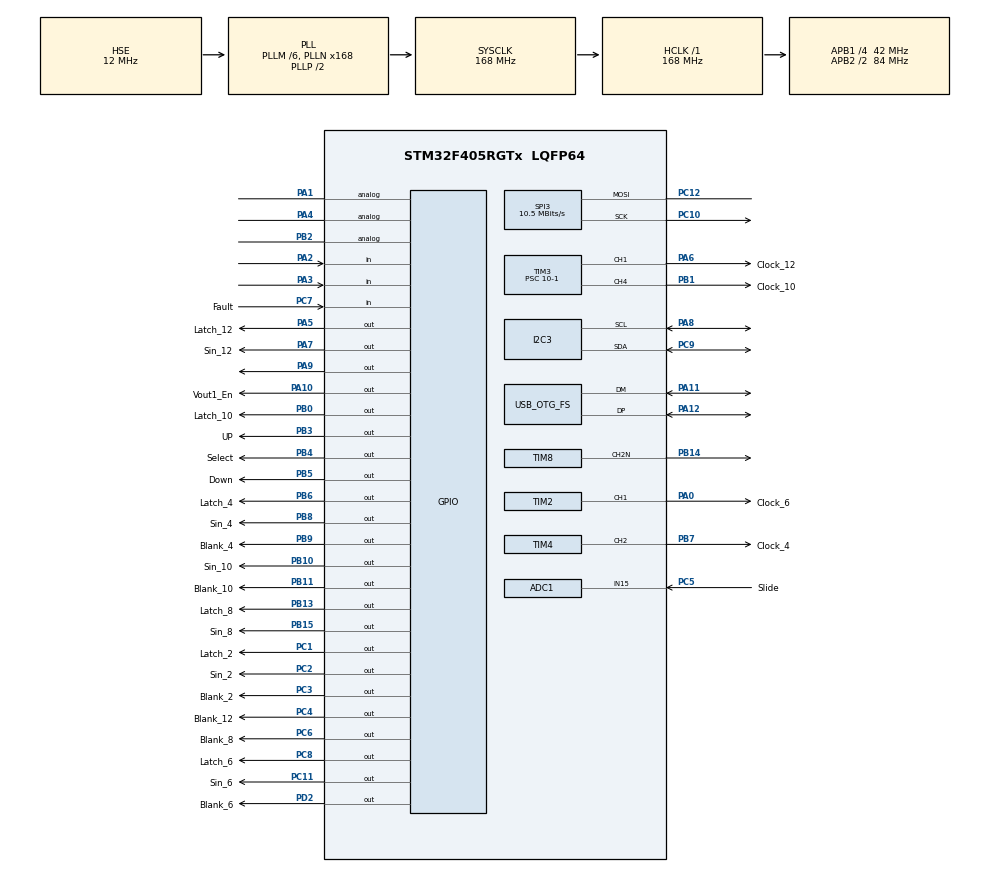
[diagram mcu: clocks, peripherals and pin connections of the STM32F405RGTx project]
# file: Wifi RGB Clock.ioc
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Dma.SPI3_TX.0.FIFOMode=DMA_FIFOMODE_DISABLE
Dma.SPI3_TX.0.Priority=DMA_PRIORITY_MEDIUM
VP_TIM5_VS_ClockSourceINT.Mode=Internal
PH0-OSC_IN.Signal=RCC_OSC_IN
VP_SYS_VS_tim6.Mode=TIM6
SPI3.Direction=SPI_DIRECTION_1LINE
SPI3.VirtualType=VM_MASTER
NVIC.TIM6_DAC_IRQn=true\:0\:0\:false\:false\:true\:false\:false\:true
PC12.Signal=SPI3_MOSI
PC6.GPIO_Label=Blank_8
VP_RTC_VS_RTC_Activate.Mode=RTC_Enabled
PB6.GPIO_Label=Latch_4
PA6.GPIO_Label=Clock_12
PB13.Signal=GPIO_Output
TIM3.Channel-PWM\ Generation4\ CH4=TIM_CHANNEL_4
RCC.SYSCLKSource=RCC_SYSCLKSOURCE_PLLCLK
VP_TIM1_VS_no_output1.Mode=PWM Generation1 No Output
VP_TIM2_VS_ClockSourceITR.Mode=TriggerSource_ITR0
TIM8.OCNPolarity_2=TIM_OCNPOLARITY_HIGH
NVIC.TIM5_IRQn=true\:5\:0\:false\:false\:true\:true\:true\:true
RCC.APB2TimFreq_Value=168000000
PB6.Signal=GPIO_Output
PC7.Signal=GPIO_Input
PC3.Signal=GPIO_Output
Dma.SPI3_TX.0.Direction=DMA_MEMORY_TO_PERIPH
VP_TIM4_VS_ControllerModeTrigger.Mode=Trigger Mode
PB2.Signal=GPIO_Analog
PC1.GPIO_PuPd=GPIO_PULLDOWN
SH.ADCx_IN15.0=ADC1_IN15,IN15
TIM8.OCMode_PWM-PWM\ Generation2\ CH2N=TIM_OCMODE_PWM1
PC4.GPIO_Label=Blank_12
PB14.Mode=PWM Generation2 CH2N
PA5.GPIO_PuPd=GPIO_PULLDOWN
PB1.GPIO_Label=Clock_10
NVIC.TIM2_IRQn=true\:5\:0\:false\:false\:true\:true\:true\:true
PC9.Mode=I2C
PC11.GPIO_Speed=GPIO_SPEED_FREQ_HIGH
SH.S_TIM4_CH2.0=TIM4_CH2,PWM Generation2 CH2
PA8.Signal=I2C3_SCL
TIM4.Period=84-1
VP_TIM1_VS_ClockSourceINT.Mode=Internal
ADC1.SamplingTime-0\#ChannelRegularConversion=ADC_SAMPLETIME_3CYCLES
Mcu.Package=LQFP64
PB9.Signal=GPIO_Output
TIM2.Prescaler=10-1
PB1.Signal=S_TIM3_CH4
NVIC.TimeBase=TIM6_DAC_IRQn
SPI3.Mode=SPI_MODE_MASTER
NVIC.TimeBaseIP=TIM6
PA10.Signal=GPIO_Output
PB9.GPIO_PuPd=GPIO_PULLUP
PC6.GPIO_PuPd=GPIO_PULLUP
RCC.APB2CLKDivider=RCC_HCLK_DIV2
RCC.APB1TimFreq_Value=84000000
TIM1.Period=168-1
TIM4.OC2Preload_PWM=DISABLE
TIM4.Pulse-PWM\ Generation2\ CH2=70
TIM1.OCPolarity_1=TIM_OCPOLARITY_LOW
FREERTOS.Tasks01=RGB,26,128,StartRGB,Default,NULL,Dynamic,NULL,NULL;LatchTime,40,128,StartLatchTime,Default,NULL,Dynamic,NULL,NULL;UpdateTimeCallB,32,128,StartUpdateTimeCB,Default,NULL,Dynamic,NULL,NULL;UpdateTime,48,128,StartUpdateTime,Default,NULL,Dynamic,NULL,NULL;CurrentTime,24,128,StartCurrentTime,Default,NULL,Dynamic,NULL,NULL
ADC1.Rank-0\#ChannelRegularConversion=1
PC4.PinState=GPIO_PIN_SET
PD2.GPIO_PuPd=GPIO_PULLUP
VP_TIM3_VS_ControllerModeTrigger.Mode=Trigger Mode
PB6.GPIO_PuPd=GPIO_PULLDOWN
FREERTOS.configCHECK_FOR_STACK_OVERFLOW=1
PC6.Signal=GPIO_Output
PC2.Signal=GPIO_Output
PB11.GPIO_Label=Blank_10
VP_TIM8_VS_ClockSourceITR.Mode=TriggerSource_ITR0
RCC.APB1CLKDivider=RCC_HCLK_DIV4
TIM2.OCPolarity_1=TIM_OCPOLARITY_HIGH
PC14-OSC32_IN.Signal=RCC_OSC32_IN
PA0-WKUP.GPIO_Label=Clock_6
PA0-WKUP.Signal=S_TIM2_CH1_ETR
PB8.GPIO_Label=Sin_4
TIM3.Pulse-PWM\ Generation1\ CH1=70
PA9.Signal=GPIO_Output
VP_TIM8_VS_ClockSourceINT.Mode=Internal
Dma.SPI3_TX.0.PeriphInc=DMA_PINC_DISABLE
PB10.Signal=GPIO_Output
PC6.PinState=GPIO_PIN_SET
PB14.Signal=TIM8_CH2N
PA5.Signal=GPIO_Output
PC12.Mode=Simplex_Bidirectional_Master
VP_TIM5_VS_no_output1.Mode=PWM Generation1 No Output
PA7.GPIO_Speed=GPIO_SPEED_FREQ_HIGH
NVIC.TIM3_IRQn=true\:5\:0\:false\:false\:true\:true\:true\:true
PB13.GPIO_PuPd=GPIO_PULLDOWN
TIM1.TIM_MasterOutputTrigger=TIM_TRGO_OC1REF
PB4.GPIO_Label=Select
PB15.GPIO_Label=Sin_8
VP_TIM4_VS_ClockSourceITR.Mode=TriggerSource_ITR0
TIM3.OC4Preload_PWM=DISABLE
RCC.RCC_RTC_Clock_SourceVirtual=RCC_RTCCLKSOURCE_LSE
TIM5.Channel-PWM\ Generation1\ No\ Output=TIM_CHANNEL_1
Dma.SPI3_TX.0.Instance=DMA1_Stream5
TIM2.Period=84-1
PA13.Mode=Serial_Wire
NVIC.TIM1_CC_IRQn=true\:5\:0\:false\:false\:true\:true\:true\:true
TIM8.Period=84-1
PC7.GPIO_Label=Fault
PC8.GPIO_PuPd=GPIO_PULLDOWN
PA4.Signal=GPIO_Analog
PB5.Signal=GPIO_Output
ADC1.master=1
PA5.GPIO_Label=Latch_12
Dma.SPI3_TX.0.Mode=DMA_NORMAL
PB9.PinState=GPIO_PIN_SET
PA11.Signal=USB_OTG_FS_DM
SH.S_TIM2_CH1_ETR.0=TIM2_CH1,PWM Generation1 CH1
ProjectManager.HeapSize=0x1000
VP_TIM4_VS_ClockSourceINT.Mode=Internal
NVIC.PriorityGroup=NVIC_PRIORITYGROUP_4
TIM2.TIM_MasterSlaveMode=TIM_MASTERSLAVEMODE_DISABLE
PC3.GPIO_Label=Blank_2
PA8.Mode=I2C
PD2.Signal=GPIO_Output
PB0.Signal=GPIO_Output
PC1.Signal=GPIO_Output
PD2.GPIO_Label=Blank_6
Mcu.Family=STM32F4
Dma.SPI3_TX.0.MemInc=DMA_MINC_ENABLE
VP_TIM2_VS_OPM.Mode=OPM_bit
VP_TIM1_VS_OPM.Mode=OPM_bit
RCC.CortexFreq_Value=168000000
TIM2.OCFastMode_PWM-PWM\ Generation1\ CH1=TIM_OCFAST_DISABLE
PB10.GPIO_Speed=GPIO_SPEED_FREQ_HIGH
TIM1.RepetitionCounter=17-1
VP_TIM3_VS_OPM.Mode=OPM_bit
VP_TIM4_VS_OPM.Mode=OPM_bit
PC10.Signal=SPI3_SCK
PA11.Mode=Device_Only
VP_TIM8_VS_ControllerModeTrigger.Mode=Trigger Mode
PB0.GPIO_Label=Latch_10
VP_TIM8_VS_OPM.Mode=OPM_bit
PC2.GPIO_Speed=GPIO_SPEED_FREQ_HIGH
Dma.SPI3_TX.0.PeriphDataAlignment=DMA_PDATAALIGN_BYTE
PB11.GPIO_PuPd=GPIO_PULLUP
PB13.GPIO_Label=Latch_8
PB11.Signal=GPIO_Output
PB15.Signal=GPIO_Output
ProjectManager.StackSize=0x1000
PC3.PinState=GPIO_PIN_SET
TIM5.OCPolarity_1=TIM_OCPOLARITY_HIGH
VP_FREERTOS_VS_CMSIS_V2.Mode=CMSIS_V2
PA12.Signal=USB_OTG_FS_DP
TIM1.Prescaler=15-1
RCC.RCC_RTC_Clock_Source=RCC_RTCCLKSOURCE_LSE
TIM8.OCFastMode_PWM-PWM\ Generation2\ CH2N=TIM_OCFAST_DISABLE
RCC.HCLKFreq_Value=168000000
TIM3.Period=84-1
TIM3.OC1Preload_PWM=DISABLE
RCC.AHBFreq_Value=168000000
PH0-OSC_IN.Mode=HSE-External-Oscillator
TIM3.Channel-PWM\ Generation1\ CH1=TIM_CHANNEL_1
ADC1.Channel-0\#ChannelRegularConversion=ADC_CHANNEL_15
RCC.HSE_VALUE=12000000
PC14-OSC32_IN.Mode=LSE-External-Oscillator
PA14.Mode=Serial_Wire
TIM3.Prescaler=10-1
PC11.GPIO_Label=Sin_6
PA10.GPIO_Label=Vout1_En
TIM8.Pulse-PWM\ Generation2\ CH2N=70
PB7.Signal=S_TIM4_CH2
TIM2.Channel-PWM\ Generation1\ CH1=TIM_CHANNEL_1
SH.S_TIM3_CH1.0=TIM3_CH1,PWM Generation1 CH1
TIM4.OCFastMode_PWM-PWM\ Generation2\ CH2=TIM_OCFAST_DISABLE
VP_TIM3_VS_ClockSourceITR.Mode=TriggerSource_ITR0
TIM8.OC2Preload_PWM=DISABLE
TIM3.OCPolarity_4=TIM_OCPOLARITY_HIGH
Dma.SPI3_TX.0.MemDataAlignment=DMA_MDATAALIGN_BYTE
TIM3.OCPolarity_1=TIM_OCPOLARITY_HIGH
PH1-OSC_OUT.Mode=HSE-External-Oscillator
PB7.GPIO_Label=Clock_4
PA6.Signal=S_TIM3_CH1
TIM8.Channel-PWM\ Generation2\ CH2N=TIM_CHANNEL_2
USB_OTG_FS.VirtualMode=Device_Only
PB11.PinState=GPIO_PIN_SET
TIM8.Prescaler=20-1
PB5.GPIO_Label=Down
PC5.Signal=ADCx_IN15
Dma.Request0=SPI3_TX
PC2.GPIO_Label=Sin_2
VP_TIM3_VS_ClockSourceINT.Mode=Internal
TIM2.OC1Preload_PWM=DISABLE
PB4.Signal=GPIO_Output
PA3.Signal=GPIO_Input
PB3.GPIO_Label=UP
PC15-OSC32_OUT.Mode=LSE-External-Oscillator
PB9.GPIO_Label=Blank_4
PC4.GPIO_PuPd=GPIO_PULLUP
TIM3.OCMode_PWM-PWM\ Generation4\ CH4=TIM_OCMODE_PWM1
TIM2.OCMode_PWM-PWM\ Generation1\ CH1=TIM_OCMODE_PWM1
PC11.Signal=GPIO_Output
PC8.Signal=GPIO_Output
PC4.Signal=GPIO_Output
PC10.Mode=Simplex_Bidirectional_Master
TIM1.Pulse-PWM\ Generation1\ No\ Output=150
VP_RNG_VS_RNG.Mode=RNG_Activate
TIM5.AutoReloadPreload=TIM_AUTORELOAD_PRELOAD_DISABLE
TIM2.Pulse-PWM\ Generation1\ CH1=70
TIM1.Channel-PWM\ Generation1\ No\ Output=TIM_CHANNEL_1
PC8.GPIO_Label=Latch_6
PA13.Signal=SYS_JTMS-SWDIO
TIM3.OCMode_PWM-PWM\ Generation1\ CH1=TIM_OCMODE_PWM1
ProjectManager.TargetToolchain=STM32CubeIDE
PB10.GPIO_Label=Sin_10
NVIC.DMA1_Stream5_IRQn=true\:5\:0\:false\:false\:true\:true\:false\:true
TIM4.Prescaler=10-1
PC15-OSC32_OUT.Signal=RCC_OSC32_OUT
PA7.GPIO_PuPd=GPIO_PULLDOWN
PA1.Signal=GPIO_Analog
PD2.PinState=GPIO_PIN_SET
board=custom
RCC.VCOOutputFreq_Value=336000000
TIM4.Channel-PWM\ Generation2\ CH2=TIM_CHANNEL_2
RCC.APB2Freq_Value=84000000
SPI3.CalculateBaudRate=10.5 MBits/s
VP_TIM2_VS_ClockSourceINT.Mode=Internal
TIM1.OCMode_PWM-PWM\ Generation1\ No\ Output=TIM_OCMODE_PWM1
PB15.GPIO_Speed=GPIO_SPEED_FREQ_HIGH
SPI3.BaudRatePrescaler=SPI_BAUDRATEPRESCALER_4
PC1.GPIO_Label=Latch_2
PH1-OSC_OUT.Signal=RCC_OSC_OUT
Mcu.Name=STM32F405RGTx
PA2.Signal=GPIO_Input
TIM4.OCPolarity_2=TIM_OCPOLARITY_HIGH
RCC.48MHZClocksFreq_Value=48000000
PB3.Signal=GPIO_Output
TIM3.OCFastMode_PWM-PWM\ Generation4\ CH4=TIM_OCFAST_DISABLE
RCC.SYSCLKFreq_VALUE=168000000
PA7.GPIO_Label=Sin_12
PA12.Mode=Device_Only
VP_TIM2_VS_ControllerModeTrigger.Mode=Trigger Mode
TIM5.Prescaler=1-1
PC5.GPIO_Label=Slide
TIM3.TIM_MasterSlaveMode=TIM_MASTERSLAVEMODE_DISABLE
PA14.Signal=SYS_JTCK-SWCLK
RCC.HSI_VALUE=16000000
RCC.PLLQ=7
ADC1.NbrOfConversionFlag=1
RCC.PLLM=6
RCC.PLLN=168
PB8.Signal=GPIO_Output
TIM5.Period=42-1
PC9.Signal=I2C3_SDA
NVIC.TIM4_IRQn=true\:5\:0\:false\:false\:true\:true\:true\:true
TIM4.OCMode_PWM-PWM\ Generation2\ CH2=TIM_OCMODE_PWM1
RCC.APB1Freq_Value=42000000
PB8.GPIO_Speed=GPIO_SPEED_FREQ_HIGH
TIM3.Pulse-PWM\ Generation4\ CH4=70
PB0.GPIO_PuPd=GPIO_PULLDOWN
PC3.GPIO_PuPd=GPIO_PULLUP
SH.S_TIM3_CH4.0=TIM3_CH4,PWM Generation4 CH4
PA7.Signal=GPIO_Output

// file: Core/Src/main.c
/* USER CODE BEGIN Header */
/**
  ******************************************************************************
  * @file           : main.c
  * @brief          : Main program body
  ******************************************************************************
  * @attention
  *
  * <h2><center>&copy; Copyright (c) 2021 STMicroelectronics.
  * All rights reserved.</center></h2>
  *
  * This software component is licensed by ST under BSD 3-Clause license,
  * the "License"; You may not use this file except in compliance with the
  * License. You may obtain a copy of the License at:
  *                        opensource.org/licenses/BSD-3-Clause
  *
  ******************************************************************************
  */
/* USER CODE END Header */
#include "main.h"
#include "cmsis_os.h"

/* USER CODE BEGIN Includes */
#include "TLC5929.h"
/* USER CODE END Includes */

ADC_HandleTypeDef hadc1;

I2C_HandleTypeDef hi2c3;

RNG_HandleTypeDef hrng;

RTC_HandleTypeDef hrtc;

SPI_HandleTypeDef hspi3;
DMA_HandleTypeDef hdma_spi3_tx;

TIM_HandleTypeDef htim1;
TIM_HandleTypeDef htim2;
TIM_HandleTypeDef htim3;
TIM_HandleTypeDef htim4;
TIM_HandleTypeDef htim5;
TIM_HandleTypeDef htim8;

PCD_HandleTypeDef hpcd_USB_OTG_FS;

/* Definitions for RGB */
osThreadId_t RGBHandle;
const osThreadAttr_t RGB_attributes = {
  .name = "RGB",
  .stack_size = 128 * 4,
  .priority = (osPriority_t) osPriorityNormal2,
};
/* Definitions for LatchTime */
osThreadId_t LatchTimeHandle;
const osThreadAttr_t LatchTime_attributes = {
  .name = "LatchTime",
  .stack_size = 128 * 4,
  .priority = (osPriority_t) osPriorityHigh,
};
/* Definitions for UpdateTimeCallB */
osThreadId_t UpdateTimeCallBHandle;
const osThreadAttr_t UpdateTimeCallB_attributes = {
  .name = "UpdateTimeCallB",
  .stack_size = 128 * 4,
  .priority = (osPriority_t) osPriorityAboveNormal,
};
/* Definitions for UpdateTime */
osThreadId_t UpdateTimeHandle;
const osThreadAttr_t UpdateTime_attributes = {
  .name = "UpdateTime",
  .stack_size = 128 * 4,
  .priority = (osPriority_t) osPriorityRealtime,
};
/* Definitions for CurrentTime */
osThreadId_t CurrentTimeHandle;
const osThreadAttr_t CurrentTime_attributes = {
  .name = "CurrentTime",
  .stack_size = 128 * 4,
  .priority = (osPriority_t) osPriorityNormal,
};
/* USER CODE BEGIN PV */
TLC5929_HandleTypeDef cdriver[6];
uint16_t value = 0x7777;
uint16_t yarp[] = {0x0002, 0x0004, 0x0008, 0x0006, 0x000A, 0x000C};
/* USER CODE END PV */

void SystemClock_Config(void);
static void MX_GPIO_Init(void);
static void MX_DMA_Init(void);
static void MX_ADC1_Init(void);
static void MX_I2C3_Init(void);
static void MX_RNG_Init(void);
static void MX_RTC_Init(void);
static void MX_SPI3_Init(void);
static void MX_TIM2_Init(void);
static void MX_TIM3_Init(void);
static void MX_TIM4_Init(void);
static void MX_TIM5_Init(void);
static void MX_USB_OTG_FS_PCD_Init(void);
static void MX_TIM1_Init(void);
static void MX_TIM8_Init(void);
void StartRGB(void *argument);
void StartLatchTime(void *argument);
void StartUpdateTimeCB(void *argument);
void StartUpdateTime(void *argument);
void StartCurrentTime(void *argument);

int main(void)
{

  /* MCU Configuration--------------------------------------------------------*/

  /* Reset of all peripherals, Initializes the Flash interface and the Systick. */
  HAL_Init();

  /* Configure the system clock */
  SystemClock_Config();

  /* Initialize all configured peripherals */
  MX_GPIO_Init();
  MX_DMA_Init();
  MX_ADC1_Init();
  MX_I2C3_Init();
  MX_RNG_Init();
  MX_RTC_Init();
  MX_SPI3_Init();
  MX_TIM2_Init();
  MX_TIM3_Init();
  MX_TIM4_Init();
  MX_TIM5_Init();
  MX_USB_OTG_FS_PCD_Init();
  MX_TIM1_Init();
  MX_TIM8_Init();
  /* USER CODE BEGIN 2 */
  /* Driver for 12 and 1, 58 - 7 */
  TLC5929_Init(&cdriver[0], &htim3, TIM_CHANNEL_1, GPIOA, GPIO_PIN_5,
		  GPIOC, GPIO_PIN_4, GPIOA, GPIO_PIN_7,0);
  /* Driver for 2 and 3, 8 - 17 */
  TLC5929_Init(&cdriver[1], &htim5, TIM_CHANNEL_1, GPIOC, GPIO_PIN_1,
		  GPIOC, GPIO_PIN_3, GPIOC, GPIO_PIN_2,1);
  /* Driver for 4 and 5, 18 - 27 */
  TLC5929_Init(&cdriver[2], &htim4, TIM_CHANNEL_2, GPIOB, GPIO_PIN_6,
		  GPIOB, GPIO_PIN_9, GPIOB, GPIO_PIN_8,2);
  /* Driver for 6 and 7, 28 - 37 */
  TLC5929_Init(&cdriver[3], &htim2, TIM_CHANNEL_1, GPIOC, GPIO_PIN_8, /* SHOULD BE PA14 FOR THIS LATCH*/
		  GPIOD, GPIO_PIN_2, GPIOC, GPIO_PIN_11,3);
  /* Driver for 8 and 9, 38 - 47 */
  TLC5929_Init(&cdriver[4], &htim8, TIM_CHANNEL_1, GPIOB, GPIO_PIN_13,
		  GPIOC, GPIO_PIN_6, GPIOB, GPIO_PIN_15,4);
  /* Driver for 10 and 11, 48 - 57 */
  TLC5929_Init(&cdriver[5], &htim3, TIM_CHANNEL_4, GPIOB, GPIO_PIN_0,
		  GPIOB, GPIO_PIN_11, GPIOB, GPIO_PIN_10,5);

  HAL_TIMEx_PWMN_Start(&htim8, TIM_CHANNEL_2);
  HAL_TIM_PWM_Start_IT(&htim1, TIM_CHANNEL_1);
  HAL_TIM_PWM_Start(&htim3, TIM_CHANNEL_1);
  HAL_TIM_PWM_Start(&htim3, TIM_CHANNEL_4);
  HAL_TIM_PWM_Start(&htim4, TIM_CHANNEL_2);
  /* USER CODE END 2 */

  /* Init scheduler */
  osKernelInitialize();

  /* Create the thread(s) */
  /* creation of RGB */
  RGBHandle = osThreadNew(StartRGB, NULL, &RGB_attributes);

  /* creation of LatchTime */
  LatchTimeHandle = osThreadNew(StartLatchTime, NULL, &LatchTime_attributes);

  /* creation of UpdateTimeCallB */
  UpdateTimeCallBHandle = osThreadNew(StartUpdateTimeCB, NULL, &UpdateTimeCallB_attributes);

  /* creation of UpdateTime */
  UpdateTimeHandle = osThreadNew(StartUpdateTime, NULL, &UpdateTime_attributes);

  /* creation of CurrentTime */
  CurrentTimeHandle = osThreadNew(StartCurrentTime, NULL, &CurrentTime_attributes);

  /* Start scheduler */
  osKernelStart();

  /* We should never get here as control is now taken by the scheduler */
  /* Infinite loop */
  while (1)
  {

  }
}

void SystemClock_Config(void)
{
  RCC_OscInitTypeDef RCC_OscInitStruct = {0};
  RCC_ClkInitTypeDef RCC_ClkInitStruct = {0};
  RCC_PeriphCLKInitTypeDef PeriphClkInitStruct = {0};

  /** Configure the main internal regulator output voltage
  */
  __HAL_RCC_PWR_CLK_ENABLE();
  __HAL_PWR_VOLTAGESCALING_CONFIG(PWR_REGULATOR_VOLTAGE_SCALE1);
  /** Initializes the RCC Oscillators according to the specified parameters
  * in the RCC_OscInitTypeDef structure.
  */
  RCC_OscInitStruct.OscillatorType = RCC_OSCILLATORTYPE_HSE|RCC_OSCILLATORTYPE_LSE;
  RCC_OscInitStruct.HSEState = RCC_HSE_ON;
  RCC_OscInitStruct.LSEState = RCC_LSE_ON;
  RCC_OscInitStruct.PLL.PLLState = RCC_PLL_ON;
  RCC_OscInitStruct.PLL.PLLSource = RCC_PLLSOURCE_HSE;
  RCC_OscInitStruct.PLL.PLLM = 6;
  RCC_OscInitStruct.PLL.PLLN = 168;
  RCC_OscInitStruct.PLL.PLLP = RCC_PLLP_DIV2;
  RCC_OscInitStruct.PLL.PLLQ = 7;
  if (HAL_RCC_OscConfig(&RCC_OscInitStruct) != HAL_OK)
  {
    Error_Handler();
  }
  /** Initializes the CPU, AHB and APB buses clocks
  */
  RCC_ClkInitStruct.ClockType = RCC_CLOCKTYPE_HCLK|RCC_CLOCKTYPE_SYSCLK
                              |RCC_CLOCKTYPE_PCLK1|RCC_CLOCKTYPE_PCLK2;
  RCC_ClkInitStruct.SYSCLKSource = RCC_SYSCLKSOURCE_PLLCLK;
  RCC_ClkInitStruct.AHBCLKDivider = RCC_SYSCLK_DIV1;
  RCC_ClkInitStruct.APB1CLKDivider = RCC_HCLK_DIV4;
  RCC_ClkInitStruct.APB2CLKDivider = RCC_HCLK_DIV2;

  if (HAL_RCC_ClockConfig(&RCC_ClkInitStruct, FLASH_LATENCY_5) != HAL_OK)
  {
    Error_Handler();
  }
  PeriphClkInitStruct.PeriphClockSelection = RCC_PERIPHCLK_RTC;
  PeriphClkInitStruct.RTCClockSelection = RCC_RTCCLKSOURCE_LSE;
  if (HAL_RCCEx_PeriphCLKConfig(&PeriphClkInitStruct) != HAL_OK)
  {
    Error_Handler();
  }
}

static void MX_ADC1_Init(void)
{

  ADC_ChannelConfTypeDef sConfig = {0};

  /** Configure the global features of the ADC (Clock, Resolution, Data Alignment and number of conversion)
  */
  hadc1.Instance = ADC1;
  hadc1.Init.ClockPrescaler = ADC_CLOCK_SYNC_PCLK_DIV4;
  hadc1.Init.Resolution = ADC_RESOLUTION_12B;
  hadc1.Init.ScanConvMode = DISABLE;
  hadc1.Init.ContinuousConvMode = DISABLE;
  hadc1.Init.DiscontinuousConvMode = DISABLE;
  hadc1.Init.ExternalTrigConvEdge = ADC_EXTERNALTRIGCONVEDGE_NONE;
  hadc1.Init.ExternalTrigConv = ADC_SOFTWARE_START;
  hadc1.Init.DataAlign = ADC_DATAALIGN_RIGHT;
  hadc1.Init.NbrOfConversion = 1;
  hadc1.Init.DMAContinuousRequests = DISABLE;
  hadc1.Init.EOCSelection = ADC_EOC_SINGLE_CONV;
  if (HAL_ADC_Init(&hadc1) != HAL_OK)
  {
    Error_Handler();
  }
  /** Configure for the selected ADC regular channel its corresponding rank in the sequencer and its sample time.
  */
  sConfig.Channel = ADC_CHANNEL_15;
  sConfig.Rank = 1;
  sConfig.SamplingTime = ADC_SAMPLETIME_3CYCLES;
  if (HAL_ADC_ConfigChannel(&hadc1, &sConfig) != HAL_OK)
  {
    Error_Handler();
  }

}

static void MX_I2C3_Init(void)
{

  hi2c3.Instance = I2C3;
  hi2c3.Init.ClockSpeed = 100000;
  hi2c3.Init.DutyCycle = I2C_DUTYCYCLE_2;
  hi2c3.Init.OwnAddress1 = 0;
  hi2c3.Init.AddressingMode = I2C_ADDRESSINGMODE_7BIT;
  hi2c3.Init.DualAddressMode = I2C_DUALADDRESS_DISABLE;
  hi2c3.Init.OwnAddress2 = 0;
  hi2c3.Init.GeneralCallMode = I2C_GENERALCALL_DISABLE;
  hi2c3.Init.NoStretchMode = I2C_NOSTRETCH_DISABLE;
  if (HAL_I2C_Init(&hi2c3) != HAL_OK)
  {
    Error_Handler();
  }

}

static void MX_RNG_Init(void)
{

  hrng.Instance = RNG;
  if (HAL_RNG_Init(&hrng) != HAL_OK)
  {
    Error_Handler();
  }

}

static void MX_RTC_Init(void)
{

  /** Initialize RTC Only
  */
  hrtc.Instance = RTC;
  hrtc.Init.HourFormat = RTC_HOURFORMAT_24;
  hrtc.Init.AsynchPrediv = 127;
  hrtc.Init.SynchPrediv = 255;
  hrtc.Init.OutPut = RTC_OUTPUT_DISABLE;
  hrtc.Init.OutPutPolarity = RTC_OUTPUT_POLARITY_HIGH;
  hrtc.Init.OutPutType = RTC_OUTPUT_TYPE_OPENDRAIN;
  if (HAL_RTC_Init(&hrtc) != HAL_OK)
  {
    Error_Handler();
  }

}

static void MX_SPI3_Init(void)
{

  /* SPI3 parameter configuration*/
  hspi3.Instance = SPI3;
  hspi3.Init.Mode = SPI_MODE_MASTER;
  hspi3.Init.Direction = SPI_DIRECTION_1LINE;
  hspi3.Init.DataSize = SPI_DATASIZE_8BIT;
  hspi3.Init.CLKPolarity = SPI_POLARITY_LOW;
  hspi3.Init.CLKPhase = SPI_PHASE_1EDGE;
  hspi3.Init.NSS = SPI_NSS_SOFT;
  hspi3.Init.BaudRatePrescaler = SPI_BAUDRATEPRESCALER_4;
  hspi3.Init.FirstBit = SPI_FIRSTBIT_MSB;
  hspi3.Init.TIMode = SPI_TIMODE_DISABLE;
  hspi3.Init.CRCCalculation = SPI_CRCCALCULATION_DISABLE;
  hspi3.Init.CRCPolynomial = 10;
  if (HAL_SPI_Init(&hspi3) != HAL_OK)
  {
    Error_Handler();
  }

}

static void MX_TIM1_Init(void)
{

  TIM_ClockConfigTypeDef sClockSourceConfig = {0};
  TIM_MasterConfigTypeDef sMasterConfig = {0};
  TIM_OC_InitTypeDef sConfigOC = {0};
  TIM_BreakDeadTimeConfigTypeDef sBreakDeadTimeConfig = {0};

  htim1.Instance = TIM1;
  htim1.Init.Prescaler = 15-1;
  htim1.Init.CounterMode = TIM_COUNTERMODE_UP;
  htim1.Init.Period = 168-1;
  htim1.Init.ClockDivision = TIM_CLOCKDIVISION_DIV1;
  htim1.Init.RepetitionCounter = 17-1;
  htim1.Init.AutoReloadPreload = TIM_AUTORELOAD_PRELOAD_DISABLE;
  if (HAL_TIM_Base_Init(&htim1) != HAL_OK)
  {
    Error_Handler();
  }
  sClockSourceConfig.ClockSource = TIM_CLOCKSOURCE_INTERNAL;
  if (HAL_TIM_ConfigClockSource(&htim1, &sClockSourceConfig) != HAL_OK)
  {
    Error_Handler();
  }
  if (HAL_TIM_PWM_Init(&htim1) != HAL_OK)
  {
    Error_Handler();
  }
  if (HAL_TIM_OnePulse_Init(&htim1, TIM_OPMODE_SINGLE) != HAL_OK)
  {
    Error_Handler();
  }
  sMasterConfig.MasterOutputTrigger = TIM_TRGO_OC1REF;
  sMasterConfig.MasterSlaveMode = TIM_MASTERSLAVEMODE_DISABLE;
  if (HAL_TIMEx_MasterConfigSynchronization(&htim1, &sMasterConfig) != HAL_OK)
  {
    Error_Handler();
  }
  sConfigOC.OCMode = TIM_OCMODE_PWM1;
  sConfigOC.Pulse = 150;
  sConfigOC.OCPolarity = TIM_OCPOLARITY_LOW;
  sConfigOC.OCNPolarity = TIM_OCNPOLARITY_HIGH;
  sConfigOC.OCFastMode = TIM_OCFAST_DISABLE;
  sConfigOC.OCIdleState = TIM_OCIDLESTATE_RESET;
  sConfigOC.OCNIdleState = TIM_OCNIDLESTATE_RESET;
  if (HAL_TIM_PWM_ConfigChannel(&htim1, &sConfigOC, TIM_CHANNEL_1) != HAL_OK)
  {
    Error_Handler();
  }
  sBreakDeadTimeConfig.OffStateRunMode = TIM_OSSR_DISABLE;
  sBreakDeadTimeConfig.OffStateIDLEMode = TIM_OSSI_DISABLE;
  sBreakDeadTimeConfig.LockLevel = TIM_LOCKLEVEL_OFF;
  sBreakDeadTimeConfig.DeadTime = 0;
  sBreakDeadTimeConfig.BreakState = TIM_BREAK_DISABLE;
  sBreakDeadTimeConfig.BreakPolarity = TIM_BREAKPOLARITY_HIGH;
  sBreakDeadTimeConfig.AutomaticOutput = TIM_AUTOMATICOUTPUT_DISABLE;
  if (HAL_TIMEx_ConfigBreakDeadTime(&htim1, &sBreakDeadTimeConfig) != HAL_OK)
  {
    Error_Handler();
  }

}

static void MX_TIM2_Init(void)
{

  TIM_ClockConfigTypeDef sClockSourceConfig = {0};
  TIM_SlaveConfigTypeDef sSlaveConfig = {0};
  TIM_MasterConfigTypeDef sMasterConfig = {0};
  TIM_OC_InitTypeDef sConfigOC = {0};

  htim2.Instance = TIM2;
  htim2.Init.Prescaler = 10-1;
  htim2.Init.CounterMode = TIM_COUNTERMODE_UP;
  htim2.Init.Period = 84-1;
  htim2.Init.ClockDivision = TIM_CLOCKDIVISION_DIV1;
  htim2.Init.AutoReloadPreload = TIM_AUTORELOAD_PRELOAD_DISABLE;
  if (HAL_TIM_Base_Init(&htim2) != HAL_OK)
  {
    Error_Handler();
  }
  sClockSourceConfig.ClockSource = TIM_CLOCKSOURCE_INTERNAL;
  if (HAL_TIM_ConfigClockSource(&htim2, &sClockSourceConfig) != HAL_OK)
  {
    Error_Handler();
  }
  if (HAL_TIM_PWM_Init(&htim2) != HAL_OK)
  {
    Error_Handler();
  }
  if (HAL_TIM_OnePulse_Init(&htim2, TIM_OPMODE_SINGLE) != HAL_OK)
  {
    Error_Handler();
  }
  sSlaveConfig.SlaveMode = TIM_SLAVEMODE_TRIGGER;
  sSlaveConfig.InputTrigger = TIM_TS_ITR0;
  if (HAL_TIM_SlaveConfigSynchro(&htim2, &sSlaveConfig) != HAL_OK)
  {
    Error_Handler();
  }
  sMasterConfig.MasterOutputTrigger = TIM_TRGO_RESET;
  sMasterConfig.MasterSlaveMode = TIM_MASTERSLAVEMODE_DISABLE;
  if (HAL_TIMEx_MasterConfigSynchronization(&htim2, &sMasterConfig) != HAL_OK)
  {
    Error_Handler();
  }
  sConfigOC.OCMode = TIM_OCMODE_PWM1;
  sConfigOC.Pulse = 70;
  sConfigOC.OCPolarity = TIM_OCPOLARITY_HIGH;
  sConfigOC.OCFastMode = TIM_OCFAST_DISABLE;
  if (HAL_TIM_PWM_ConfigChannel(&htim2, &sConfigOC, TIM_CHANNEL_1) != HAL_OK)
  {
    Error_Handler();
  }
  __HAL_TIM_DISABLE_OCxPRELOAD(&htim2, TIM_CHANNEL_1);
  HAL_TIM_MspPostInit(&htim2);

}

static void MX_TIM3_Init(void)
{

  TIM_ClockConfigTypeDef sClockSourceConfig = {0};
  TIM_SlaveConfigTypeDef sSlaveConfig = {0};
  TIM_MasterConfigTypeDef sMasterConfig = {0};
  TIM_OC_InitTypeDef sConfigOC = {0};

  htim3.Instance = TIM3;
  htim3.Init.Prescaler = 10-1;
  htim3.Init.CounterMode = TIM_COUNTERMODE_UP;
  htim3.Init.Period = 84-1;
  htim3.Init.ClockDivision = TIM_CLOCKDIVISION_DIV1;
  htim3.Init.AutoReloadPreload = TIM_AUTORELOAD_PRELOAD_DISABLE;
  if (HAL_TIM_Base_Init(&htim3) != HAL_OK)
  {
    Error_Handler();
  }
  sClockSourceConfig.ClockSource = TIM_CLOCKSOURCE_INTERNAL;
  if (HAL_TIM_ConfigClockSource(&htim3, &sClockSourceConfig) != HAL_OK)
  {
    Error_Handler();
  }
  if (HAL_TIM_PWM_Init(&htim3) != HAL_OK)
  {
    Error_Handler();
  }
  if (HAL_TIM_OnePulse_Init(&htim3, TIM_OPMODE_SINGLE) != HAL_OK)
  {
    Error_Handler();
  }
  sSlaveConfig.SlaveMode = TIM_SLAVEMODE_TRIGGER;
  sSlaveConfig.InputTrigger = TIM_TS_ITR0;
  if (HAL_TIM_SlaveConfigSynchro(&htim3, &sSlaveConfig) != HAL_OK)
  {
    Error_Handler();
  }
  sMasterConfig.MasterOutputTrigger = TIM_TRGO_RESET;
  sMasterConfig.MasterSlaveMode = TIM_MASTERSLAVEMODE_DISABLE;
  if (HAL_TIMEx_MasterConfigSynchronization(&htim3, &sMasterConfig) != HAL_OK)
  {
    Error_Handler();
  }
  sConfigOC.OCMode = TIM_OCMODE_PWM1;
  sConfigOC.Pulse = 70;
  sConfigOC.OCPolarity = TIM_OCPOLARITY_HIGH;
  sConfigOC.OCFastMode = TIM_OCFAST_DISABLE;
  if (HAL_TIM_PWM_ConfigChannel(&htim3, &sConfigOC, TIM_CHANNEL_1) != HAL_OK)
  {
    Error_Handler();
  }
  __HAL_TIM_DISABLE_OCxPRELOAD(&htim3, TIM_CHANNEL_1);
  if (HAL_TIM_PWM_ConfigChannel(&htim3, &sConfigOC, TIM_CHANNEL_4) != HAL_OK)
  {
    Error_Handler();
  }
  __HAL_TIM_DISABLE_OCxPRELOAD(&htim3, TIM_CHANNEL_4);
  HAL_TIM_MspPostInit(&htim3);

}

static void MX_TIM4_Init(void)
{

  TIM_ClockConfigTypeDef sClockSourceConfig = {0};
  TIM_SlaveConfigTypeDef sSlaveConfig = {0};
  TIM_MasterConfigTypeDef sMasterConfig = {0};
  TIM_OC_InitTypeDef sConfigOC = {0};

  htim4.Instance = TIM4;
  htim4.Init.Prescaler = 10-1;
  htim4.Init.CounterMode = TIM_COUNTERMODE_UP;
  htim4.Init.Period = 84-1;
  htim4.Init.ClockDivision = TIM_CLOCKDIVISION_DIV1;
  htim4.Init.AutoReloadPreload = TIM_AUTORELOAD_PRELOAD_DISABLE;
  if (HAL_TIM_Base_Init(&htim4) != HAL_OK)
  {
    Error_Handler();
  }
  sClockSourceConfig.ClockSource = TIM_CLOCKSOURCE_INTERNAL;
  if (HAL_TIM_ConfigClockSource(&htim4, &sClockSourceConfig) != HAL_OK)
  {
    Error_Handler();
  }
  if (HAL_TIM_PWM_Init(&htim4) != HAL_OK)
  {
    Error_Handler();
  }
  if (HAL_TIM_OnePulse_Init(&htim4, TIM_OPMODE_SINGLE) != HAL_OK)
  {
    Error_Handler();
  }
  sSlaveConfig.SlaveMode = TIM_SLAVEMODE_TRIGGER;
  sSlaveConfig.InputTrigger = TIM_TS_ITR0;
  if (HAL_TIM_SlaveConfigSynchro(&htim4, &sSlaveConfig) != HAL_OK)
  {
    Error_Handler();
  }
  sMasterConfig.MasterOutputTrigger = TIM_TRGO_RESET;
  sMasterConfig.MasterSlaveMode = TIM_MASTERSLAVEMODE_DISABLE;
  if (HAL_TIMEx_MasterConfigSynchronization(&htim4, &sMasterConfig) != HAL_OK)
  {
    Error_Handler();
  }
  sConfigOC.OCMode = TIM_OCMODE_PWM1;
  sConfigOC.Pulse = 70;
  sConfigOC.OCPolarity = TIM_OCPOLARITY_HIGH;
  sConfigOC.OCFastMode = TIM_OCFAST_DISABLE;
  if (HAL_TIM_PWM_ConfigChannel(&htim4, &sConfigOC, TIM_CHANNEL_2) != HAL_OK)
  {
    Error_Handler();
  }
  __HAL_TIM_DISABLE_OCxPRELOAD(&htim4, TIM_CHANNEL_2);
  HAL_TIM_MspPostInit(&htim4);

}

static void MX_TIM5_Init(void)
{

  TIM_ClockConfigTypeDef sClockSourceConfig = {0};
  TIM_MasterConfigTypeDef sMasterConfig = {0};
  TIM_OC_InitTypeDef sConfigOC = {0};

  htim5.Instance = TIM5;
  htim5.Init.Prescaler = 1-1;
  htim5.Init.CounterMode = TIM_COUNTERMODE_UP;
  htim5.Init.Period = 42-1;
  htim5.Init.ClockDivision = TIM_CLOCKDIVISION_DIV1;
  htim5.Init.AutoReloadPreload = TIM_AUTORELOAD_PRELOAD_DISABLE;
  if (HAL_TIM_Base_Init(&htim5) != HAL_OK)
  {
    Error_Handler();
  }
  sClockSourceConfig.ClockSource = TIM_CLOCKSOURCE_INTERNAL;
  if (HAL_TIM_ConfigClockSource(&htim5, &sClockSourceConfig) != HAL_OK)
  {
    Error_Handler();
  }
  if (HAL_TIM_PWM_Init(&htim5) != HAL_OK)
  {
    Error_Handler();
  }
  sMasterConfig.MasterOutputTrigger = TIM_TRGO_RESET;
  sMasterConfig.MasterSlaveMode = TIM_MASTERSLAVEMODE_DISABLE;
  if (HAL_TIMEx_MasterConfigSynchronization(&htim5, &sMasterConfig) != HAL_OK)
  {
    Error_Handler();
  }
  sConfigOC.OCMode = TIM_OCMODE_PWM1;
  sConfigOC.Pulse = 0;
  sConfigOC.OCPolarity = TIM_OCPOLARITY_HIGH;
  sConfigOC.OCFastMode = TIM_OCFAST_DISABLE;
  if (HAL_TIM_PWM_ConfigChannel(&htim5, &sConfigOC, TIM_CHANNEL_1) != HAL_OK)
  {
    Error_Handler();
  }

}

static void MX_TIM8_Init(void)
{

  TIM_ClockConfigTypeDef sClockSourceConfig = {0};
  TIM_SlaveConfigTypeDef sSlaveConfig = {0};
  TIM_MasterConfigTypeDef sMasterConfig = {0};
  TIM_OC_InitTypeDef sConfigOC = {0};
  TIM_BreakDeadTimeConfigTypeDef sBreakDeadTimeConfig = {0};

  htim8.Instance = TIM8;
  htim8.Init.Prescaler = 20-1;
  htim8.Init.CounterMode = TIM_COUNTERMODE_UP;
  htim8.Init.Period = 84-1;
  htim8.Init.ClockDivision = TIM_CLOCKDIVISION_DIV1;
  htim8.Init.RepetitionCounter = 0;
  htim8.Init.AutoReloadPreload = TIM_AUTORELOAD_PRELOAD_DISABLE;
  if (HAL_TIM_Base_Init(&htim8) != HAL_OK)
  {
    Error_Handler();
  }
  sClockSourceConfig.ClockSource = TIM_CLOCKSOURCE_INTERNAL;
  if (HAL_TIM_ConfigClockSource(&htim8, &sClockSourceConfig) != HAL_OK)
  {
    Error_Handler();
  }
  if (HAL_TIM_PWM_Init(&htim8) != HAL_OK)
  {
    Error_Handler();
  }
  if (HAL_TIM_OnePulse_Init(&htim8, TIM_OPMODE_SINGLE) != HAL_OK)
  {
    Error_Handler();
  }
  sSlaveConfig.SlaveMode = TIM_SLAVEMODE_TRIGGER;
  sSlaveConfig.InputTrigger = TIM_TS_ITR0;
  if (HAL_TIM_SlaveConfigSynchro(&htim8, &sSlaveConfig) != HAL_OK)
  {
    Error_Handler();
  }
  sMasterConfig.MasterOutputTrigger = TIM_TRGO_RESET;
  sMasterConfig.MasterSlaveMode = TIM_MASTERSLAVEMODE_DISABLE;
  if (HAL_TIMEx_MasterConfigSynchronization(&htim8, &sMasterConfig) != HAL_OK)
  {
    Error_Handler();
  }
  sConfigOC.OCMode = TIM_OCMODE_PWM1;
  sConfigOC.Pulse = 70;
  sConfigOC.OCPolarity = TIM_OCPOLARITY_HIGH;
  sConfigOC.OCNPolarity = TIM_OCNPOLARITY_HIGH;
  sConfigOC.OCFastMode = TIM_OCFAST_DISABLE;
  sConfigOC.OCIdleState = TIM_OCIDLESTATE_RESET;
  sConfigOC.OCNIdleState = TIM_OCNIDLESTATE_RESET;
  if (HAL_TIM_PWM_ConfigChannel(&htim8, &sConfigOC, TIM_CHANNEL_2) != HAL_OK)
  {
    Error_Handler();
  }
  __HAL_TIM_DISABLE_OCxPRELOAD(&htim8, TIM_CHANNEL_2);
  sBreakDeadTimeConfig.OffStateRunMode = TIM_OSSR_DISABLE;
  sBreakDeadTimeConfig.OffStateIDLEMode = TIM_OSSI_DISABLE;
  sBreakDeadTimeConfig.LockLevel = TIM_LOCKLEVEL_OFF;
  sBreakDeadTimeConfig.DeadTime = 0;
  sBreakDeadTimeConfig.BreakState = TIM_BREAK_DISABLE;
  sBreakDeadTimeConfig.BreakPolarity = TIM_BREAKPOLARITY_HIGH;
  sBreakDeadTimeConfig.AutomaticOutput = TIM_AUTOMATICOUTPUT_DISABLE;
  if (HAL_TIMEx_ConfigBreakDeadTime(&htim8, &sBreakDeadTimeConfig) != HAL_OK)
  {
    Error_Handler();
  }
  HAL_TIM_MspPostInit(&htim8);

}

static void MX_USB_OTG_FS_PCD_Init(void)
{

  hpcd_USB_OTG_FS.Instance = USB_OTG_FS;
  hpcd_USB_OTG_FS.Init.dev_endpoints = 4;
  hpcd_USB_OTG_FS.Init.speed = PCD_SPEED_FULL;
  hpcd_USB_OTG_FS.Init.dma_enable = DISABLE;
  hpcd_USB_OTG_FS.Init.phy_itface = PCD_PHY_EMBEDDED;
  hpcd_USB_OTG_FS.Init.Sof_enable = DISABLE;
  hpcd_USB_OTG_FS.Init.low_power_enable = DISABLE;
  hpcd_USB_OTG_FS.Init.lpm_enable = DISABLE;
  hpcd_USB_OTG_FS.Init.vbus_sensing_enable = DISABLE;
  hpcd_USB_OTG_FS.Init.use_dedicated_ep1 = DISABLE;
  if (HAL_PCD_Init(&hpcd_USB_OTG_FS) != HAL_OK)
  {
    Error_Handler();
  }

}

static void MX_DMA_Init(void)
{

  /* DMA controller clock enable */
  __HAL_RCC_DMA1_CLK_ENABLE();

  /* DMA interrupt init */
  /* DMA1_Stream5_IRQn interrupt configuration */
  HAL_NVIC_SetPriority(DMA1_Stream5_IRQn, 5, 0);
  HAL_NVIC_EnableIRQ(DMA1_Stream5_IRQn);

}

static void MX_GPIO_Init(void)
{
  GPIO_InitTypeDef GPIO_InitStruct = {0};

  /* GPIO Ports Clock Enable */
  __HAL_RCC_GPIOC_CLK_ENABLE();
  __HAL_RCC_GPIOH_CLK_ENABLE();
  __HAL_RCC_GPIOA_CLK_ENABLE();
  __HAL_RCC_GPIOB_CLK_ENABLE();
  __HAL_RCC_GPIOD_CLK_ENABLE();

  /*Configure GPIO pin Output Level */
  HAL_GPIO_WritePin(GPIOC, Latch_2_Pin|Sin_2_Pin|Latch_6_Pin|Sin_6_Pin, GPIO_PIN_RESET);

  /*Configure GPIO pin Output Level */
  HAL_GPIO_WritePin(GPIOC, Blank_2_Pin|Blank_12_Pin|Blank_8_Pin, GPIO_PIN_SET);

  /*Configure GPIO pin Output Level */
  HAL_GPIO_WritePin(GPIOA, Latch_12_Pin|Sin_12_Pin|GPIO_PIN_9|Vout1_En_Pin, GPIO_PIN_RESET);

  /*Configure GPIO pin Output Level */
  HAL_GPIO_WritePin(GPIOB, Latch_10_Pin|Sin_10_Pin|Latch_8_Pin|Sin_8_Pin
                          |UP_Pin|Select_Pin|Down_Pin|Latch_4_Pin
                          |Sin_4_Pin, GPIO_PIN_RESET);

  /*Configure GPIO pin Output Level */
  HAL_GPIO_WritePin(GPIOB, Blank_10_Pin|Blank_4_Pin, GPIO_PIN_SET);

  /*Configure GPIO pin Output Level */
  HAL_GPIO_WritePin(Blank_6_GPIO_Port, Blank_6_Pin, GPIO_PIN_SET);

  /*Configure GPIO pins : Latch_2_Pin Latch_6_Pin */
  GPIO_InitStruct.Pin = Latch_2_Pin|Latch_6_Pin;
  GPIO_InitStruct.Mode = GPIO_MODE_OUTPUT_PP;
  GPIO_InitStruct.Pull = GPIO_PULLDOWN;
  GPIO_InitStruct.Speed = GPIO_SPEED_FREQ_LOW;
  HAL_GPIO_Init(GPIOC, &GPIO_InitStruct);

  /*Configure GPIO pins : Sin_2_Pin Sin_6_Pin */
  GPIO_InitStruct.Pin = Sin_2_Pin|Sin_6_Pin;
  GPIO_InitStruct.Mode = GPIO_MODE_OUTPUT_PP;
  GPIO_InitStruct.Pull = GPIO_NOPULL;
  GPIO_InitStruct.Speed = GPIO_SPEED_FREQ_HIGH;
  HAL_GPIO_Init(GPIOC, &GPIO_InitStruct);

  /*Configure GPIO pins : Blank_2_Pin Blank_12_Pin Blank_8_Pin */
  GPIO_InitStruct.Pin = Blank_2_Pin|Blank_12_Pin|Blank_8_Pin;
  GPIO_InitStruct.Mode = GPIO_MODE_OUTPUT_PP;
  GPIO_InitStruct.Pull = GPIO_PULLUP;
  GPIO_InitStruct.Speed = GPIO_SPEED_FREQ_LOW;
  HAL_GPIO_Init(GPIOC, &GPIO_InitStruct);

  /*Configure GPIO pins : PA1 PA4 */
  GPIO_InitStruct.Pin = GPIO_PIN_1|GPIO_PIN_4;
  GPIO_InitStruct.Mode = GPIO_MODE_ANALOG;
  GPIO_InitStruct.Pull = GPIO_NOPULL;
  HAL_GPIO_Init(GPIOA, &GPIO_InitStruct);

  /*Configure GPIO pins : PA2 PA3 */
  GPIO_InitStruct.Pin = GPIO_PIN_2|GPIO_PIN_3;
  GPIO_InitStruct.Mode = GPIO_MODE_INPUT;
  GPIO_InitStruct.Pull = GPIO_NOPULL;
  HAL_GPIO_Init(GPIOA, &GPIO_InitStruct);

  /*Configure GPIO pin : Latch_12_Pin */
  GPIO_InitStruct.Pin = Latch_12_Pin;
  GPIO_InitStruct.Mode = GPIO_MODE_OUTPUT_PP;
  GPIO_InitStruct.Pull = GPIO_PULLDOWN;
  GPIO_InitStruct.Speed = GPIO_SPEED_FREQ_LOW;
  HAL_GPIO_Init(Latch_12_GPIO_Port, &GPIO_InitStruct);

  /*Configure GPIO pin : Sin_12_Pin */
  GPIO_InitStruct.Pin = Sin_12_Pin;
  GPIO_InitStruct.Mode = GPIO_MODE_OUTPUT_PP;
  GPIO_InitStruct.Pull = GPIO_PULLDOWN;
  GPIO_InitStruct.Speed = GPIO_SPEED_FREQ_HIGH;
  HAL_GPIO_Init(Sin_12_GPIO_Port, &GPIO_InitStruct);

  /*Configure GPIO pins : Latch_10_Pin Latch_8_Pin Latch_4_Pin */
  GPIO_InitStruct.Pin = Latch_10_Pin|Latch_8_Pin|Latch_4_Pin;
  GPIO_InitStruct.Mode = GPIO_MODE_OUTPUT_PP;
  GPIO_InitStruct.Pull = GPIO_PULLDOWN;
  GPIO_InitStruct.Speed = GPIO_SPEED_FREQ_LOW;
  HAL_GPIO_Init(GPIOB, &GPIO_InitStruct);

  /*Configure GPIO pin : PB2 */
  GPIO_InitStruct.Pin = GPIO_PIN_2;
  GPIO_InitStruct.Mode = GPIO_MODE_ANALOG;
  GPIO_InitStruct.Pull = GPIO_NOPULL;
  HAL_GPIO_Init(GPIOB, &GPIO_InitStruct);

  /*Configure GPIO pins : Sin_10_Pin Sin_8_Pin Sin_4_Pin */
  GPIO_InitStruct.Pin = Sin_10_Pin|Sin_8_Pin|Sin_4_Pin;
  GPIO_InitStruct.Mode = GPIO_MODE_OUTPUT_PP;
  GPIO_InitStruct.Pull = GPIO_NOPULL;
  GPIO_InitStruct.Speed = GPIO_SPEED_FREQ_HIGH;
  HAL_GPIO_Init(GPIOB, &GPIO_InitStruct);

  /*Configure GPIO pins : Blank_10_Pin Blank_4_Pin */
  GPIO_InitStruct.Pin = Blank_10_Pin|Blank_4_Pin;
  GPIO_InitStruct.Mode = GPIO_MODE_OUTPUT_PP;
  GPIO_InitStruct.Pull = GPIO_PULLUP;
  GPIO_InitStruct.Speed = GPIO_SPEED_FREQ_LOW;
  HAL_GPIO_Init(GPIOB, &GPIO_InitStruct);

  /*Configure GPIO pin : Fault_Pin */
  GPIO_InitStruct.Pin = Fault_Pin;
  GPIO_InitStruct.Mode = GPIO_MODE_INPUT;
  GPIO_InitStruct.Pull = GPIO_NOPULL;
  HAL_GPIO_Init(Fault_GPIO_Port, &GPIO_InitStruct);

  /*Configure GPIO pins : PA9 Vout1_En_Pin */
  GPIO_InitStruct.Pin = GPIO_PIN_9|Vout1_En_Pin;
  GPIO_InitStruct.Mode = GPIO_MODE_OUTPUT_PP;
  GPIO_InitStruct.Pull = GPIO_NOPULL;
  GPIO_InitStruct.Speed = GPIO_SPEED_FREQ_LOW;
  HAL_GPIO_Init(GPIOA, &GPIO_InitStruct);

  /*Configure GPIO pin : Blank_6_Pin */
  GPIO_InitStruct.Pin = Blank_6_Pin;
  GPIO_InitStruct.Mode = GPIO_MODE_OUTPUT_PP;
  GPIO_InitStruct.Pull = GPIO_PULLUP;
  GPIO_InitStruct.Speed = GPIO_SPEED_FREQ_LOW;
  HAL_GPIO_Init(Blank_6_GPIO_Port, &GPIO_InitStruct);

  /*Configure GPIO pins : UP_Pin Select_Pin Down_Pin */
  GPIO_InitStruct.Pin = UP_Pin|Select_Pin|Down_Pin;
  GPIO_InitStruct.Mode = GPIO_MODE_OUTPUT_PP;
  GPIO_InitStruct.Pull = GPIO_NOPULL;
  GPIO_InitStruct.Speed = GPIO_SPEED_FREQ_LOW;
  HAL_GPIO_Init(GPIOB, &GPIO_InitStruct);

}

/* USER CODE BEGIN 4 */
void HAL_TIM_PWM_PulseFinishedCallback(TIM_HandleTypeDef *htim)
{

	if (htim == &htim1)
	{
//		osSignalSet(UpdateTimeHandle, 0x0001);
		osThreadFlagsSet(UpdateTimeHandle, 0x01);

	}
}
/* USER CODE END 4 */

void StartRGB(void *argument)
{
  /* USER CODE BEGIN 5 */
  /* Infinite loop */
	int i = 0;
  for(;;)
  {
	  i++;
    osDelay(5);
  }
  /* USER CODE END 5 */
}

void StartLatchTime(void *argument)
{
  for(;;)
  {
    osDelay(1);
  }
}

void StartUpdateTimeCB(void *argument)
{
  /* USER CODE BEGIN StartUpdateTimeCB */
	uint16_t disp[] = { 0x02, 0x02, 0x04, 0x0004, 0x008, 0x0010};
  /* Infinite loop */
  for(;;)
  {
	  TIM1->CR1 |= TIM_CR1_CEN;
	  for (int i = 0; i < 6; i++)
	  {
		  HAL_GPIO_WritePin(cdriver[i].LatchBank, cdriver[i].LatchPin, GPIO_PIN_SET);
	  }
	  for (int i = 0; i < 6; i++)
	  {
		  HAL_GPIO_WritePin(cdriver[i].LatchBank, cdriver[i].LatchPin, GPIO_PIN_RESET);
	  }

	  HAL_TIM_PWM_Start_IT(&htim1, TIM_CHANNEL_1);
	//  TLC5929_ArrayShiftMin(cdriver, 0);
	  osDelay(100);
	  value++;
//	  TLC5929_ArrayShiftMin(disp, 0);

	  uint16_t temp[] = {0, 0, 0, 0, 0, 0};
//	  for (int i = 0; i < 6; i++)
//	  {
////		  disp[i] += i;
//
//		  temp[i] = (disp[i] & 0x7676U) << 1;
//		  temp[i] |= ((disp[i] & 0x0404U) << 2);
//		  temp[i] |= ((disp[i] & 0x0040U) << 3);
//		  temp[i] |= ((disp[(i + 5) % 6] & 0x4000U) >> 14);
//		  temp[i] |= ((disp[i] & 0x0808U));
//		  TLC5929_ArrayShiftMin(disp, 0);
//		  cdriver[i].data = disp[i] ;
//
//	  }
	  for (int i = 0; i < 6; i++)
	  {
		 yarp[i] = yarp[i]+1;
		  if (yarp[i] == 0)
			  yarp[i]=0x002;
//		  cdriver[i].data = disp[i];

//		  disp[i] = temp[i];
	  }

//	  for (int i = 0; i < 6; i++)
//	  {
//		  HAL_GPIO_WritePin(cdriver[i].BlankBank, cdriver[i].BlankPin, GPIO_PIN_SET);
//	  }
//	  for (int i = 0; i < 6; i++)
//	  {
//		  HAL_GPIO_WritePin(cdriver[i].BlankBank, cdriver[i].BlankPin, GPIO_PIN_RESET);
//	  }
//  osDelay(250);
  }
  /* USER CODE END StartUpdateTimeCB */
}

void StartUpdateTime(void *argument)
{
  /* USER CODE BEGIN StartUpdateTime */
//	uint16_t disp[] = { 0x5120, 0xdea0, 0x7020, 0x5170, 0x5020, 0x5999};
//	cdriver[0].data = 0x0;
//	cdriver[1].data = 0x0;
//	cdriver[2].data = 0x5020;
//	cdriver[3].data = 0x5020;
//	cdriver[4].data = 0x5020;
//	cdriver[5].data = 0x5020;
//	GPIO_TypeDef *bank[6];
//	uint32_t pin[6];
//	for (int i; i < 6; i++)
//	{
////		bank[i] = cdriver[i].Data_inBank;
////		pin[i] = cdriver[i].Data_inPin;
//	}
	uint16_t te = 1;
  /* Infinite loop */
  for(;;)
  {

	  osThreadFlagsWait(0x01, osFlagsWaitAny, osWaitForever);
	  for (int i = 0; i < 6; i++)
	  {
		  HAL_GPIO_WritePin(cdriver[i].Data_inBank, cdriver[i].Data_inPin, GPIO_PIN_SET);
	  }
	  te = 0x0001;
//	  osSignalWait(0x0001, osWaitForever);

	  for (int t = 0; t < 16; t++)
	  {

		  osThreadFlagsWait(0x01, osFlagsWaitAny, osWaitForever);
		  HAL_GPIO_WritePin(cdriver[0].Data_inBank, cdriver[0].Data_inPin,
		  			((((yarp[0]) & te) != 0)? GPIO_PIN_SET : GPIO_PIN_RESET));
		  HAL_GPIO_WritePin(cdriver[1].Data_inBank, cdriver[1].Data_inPin,
		  			((((yarp[1]) & te) != 0)? GPIO_PIN_SET : GPIO_PIN_RESET));
		  HAL_GPIO_WritePin(cdriver[2].Data_inBank, cdriver[2].Data_inPin,
		  			((((yarp[2]) & te) != 0)? GPIO_PIN_SET : GPIO_PIN_RESET));
		  HAL_GPIO_WritePin(cdriver[3].Data_inBank, cdriver[3].Data_inPin,
		  			((((yarp[3]) & te) != 0)? GPIO_PIN_SET : GPIO_PIN_RESET));
		  HAL_GPIO_WritePin(cdriver[4].Data_inBank, cdriver[4].Data_inPin,
		  			((((yarp[4]) & te) != 0)? GPIO_PIN_SET : GPIO_PIN_RESET));
		  HAL_GPIO_WritePin(cdriver[5].Data_inBank, cdriver[5].Data_inPin,
		  			((((yarp[5]) & te) != 0)? GPIO_PIN_SET : GPIO_PIN_RESET));
		  te = te<<1;

//		  for (int i = 0; i < 6; i++)
//		  {
////				HAL_GPIO_WritePin( GPIOB, GPIO_PIN_15|GPIO_PIN_10|GPIO_PIN_8, (((disp[i] & 1<<(t)) != 0)? GPIO_PIN_SET : GPIO_PIN_RESET));
////				HAL_GPIO_WritePin( GPIOA, GPIO_PIN_7, (((disp[i] & 1<<(t)) != 0)? GPIO_PIN_SET : GPIO_PIN_RESET));
////			  HAL_GPIO_WritePin(cdriver[i].Data_inBank, cdriver[i].Data_inPin, GPIO_PIN_SET); // all one
//			  HAL_GPIO_WritePin(cdriver[i].Data_inBank, cdriver[i].Data_inPin,
//			  			((((disp[i]) & 1<<(t)) != 0)? GPIO_PIN_SET : GPIO_PIN_RESET));
////			  HAL_GPIO_WritePin(bank[i], pin[i], ((((disp[i]) & 1<<(t)) != 0)? GPIO_PIN_SET : GPIO_PIN_RESET));
//		  }
//		  osSignalWait(0x01, osWaitForever);

	  }

//	  disp[0]++;
//	  disp[1]++;
//	  disp[2]++;
//	  disp[3]++;
//	  disp[4]++;
//	  disp[5]++;

  }
  /* USER CODE END StartUpdateTime */
}

void StartCurrentTime(void *argument)
{
  /* USER CODE BEGIN StartCurrentTime */
  /* Infinite loop
   * Convert time/display to TLC5929.data
   * enable timer 1
   * */
  for(;;)
  {
    osDelay(1);
  }
  /* USER CODE END StartCurrentTime */
}

 /**
  * @brief  Period elapsed callback in non blocking mode
  * @note   This function is called  when TIM6 interrupt took place, inside
  * HAL_TIM_IRQHandler(). It makes a direct call to HAL_IncTick() to increment
  * a global variable "uwTick" used as application time base.
  * @param  htim : TIM handle
  * @retval None
  */
void HAL_TIM_PeriodElapsedCallback(TIM_HandleTypeDef *htim)
{
  if (htim->Instance == TIM6) {
    HAL_IncTick();
  }
}

void Error_Handler(void)
{
  __disable_irq();
  while (1)
  {
  }
}

/************************ (C) COPYRIGHT STMicroelectronics *****END OF FILE****/
